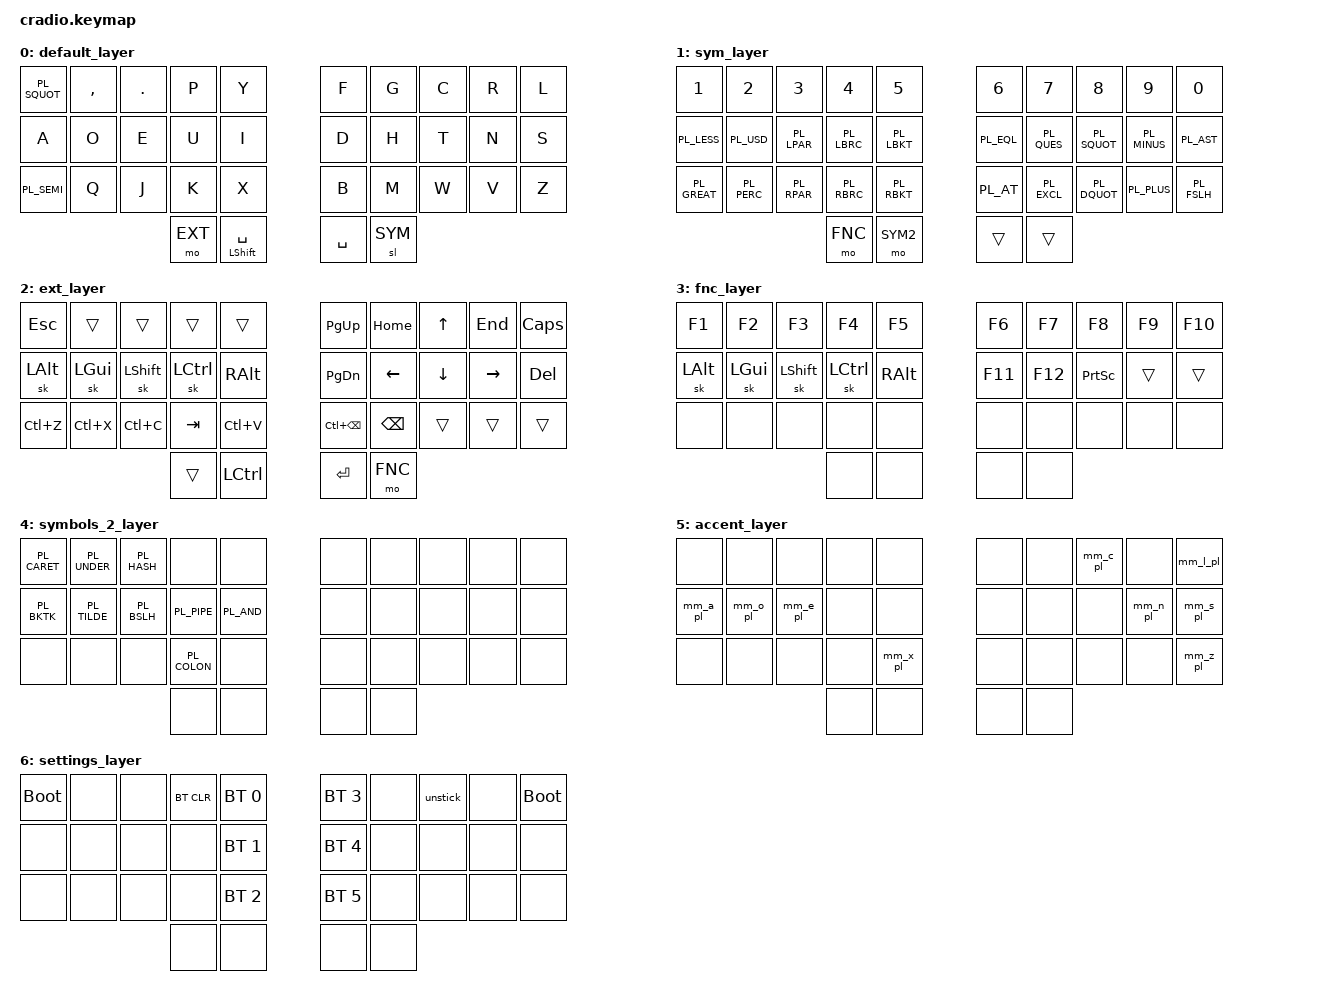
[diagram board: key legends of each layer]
/*
 * Copyright (c) 2020 The ZMK Contributors
 *
 * SPDX-License-Identifier: MIT
 */

#include <behaviors.dtsi>
#include <dt-bindings/zmk/keys.h>
#include <dt-bindings/zmk/bt.h>
#include "keymap_polish.h"

// Layer definitions
    #define BASE 0
    #define SYM 1
    #define EXT 2
    #define FNC 3
    #define SYM2 4
    #define ACCENT 5
		#define SETTINGS 6
// -----------------

&mt {
   //  flavor = "tap-preferred";
   // tapping_term_ms = <200>;
};

&sk {
    ignore-modifiers;
};

/ {
		behaviors {
				mm_a_pl: mm_a_pl { compatible = "zmk,behavior-mod-morph"; #binding-cells = <0>;
						bindings = <&kp RA(A)>, <&kp LS(RA(A))>; mods = <(MOD_LSFT|MOD_RSFT)>; };
				mm_c_pl: mm_c_pl { compatible = "zmk,behavior-mod-morph"; #binding-cells = <0>;
						bindings = <&kp RA(C)>, <&kp LS(RA(C))>; mods = <(MOD_LSFT|MOD_RSFT)>; };
				mm_e_pl: mm_e_pl { compatible = "zmk,behavior-mod-morph"; #binding-cells = <0>;
						bindings = <&kp RA(E)>, <&kp LS(RA(E))>; mods = <(MOD_LSFT|MOD_RSFT)>; };
				mm_l_pl: mm_l_pl { compatible = "zmk,behavior-mod-morph"; #binding-cells = <0>;
						bindings = <&kp RA(L)>, <&kp LS(RA(L))>; mods = <(MOD_LSFT|MOD_RSFT)>; };
				mm_n_pl: mm_n_pl { compatible = "zmk,behavior-mod-morph"; #binding-cells = <0>;
						bindings = <&kp RA(N)>, <&kp LS(RA(N))>; mods = <(MOD_LSFT|MOD_RSFT)>; };
				mm_o_pl: mm_o_pl { compatible = "zmk,behavior-mod-morph"; #binding-cells = <0>;
						bindings = <&kp RA(O)>, <&kp LS(RA(O))>; mods = <(MOD_LSFT|MOD_RSFT)>; };
				mm_s_pl: mm_s_pl { compatible = "zmk,behavior-mod-morph"; #binding-cells = <0>;
						bindings = <&kp RA(S)>, <&kp LS(RA(S))>; mods = <(MOD_LSFT|MOD_RSFT)>; };
				mm_x_pl: mm_x_pl { compatible = "zmk,behavior-mod-morph"; #binding-cells = <0>;
						bindings = <&kp RA(X)>, <&kp LS(RA(X))>; mods = <(MOD_LSFT|MOD_RSFT)>; };
				mm_z_pl: mm_z_pl { compatible = "zmk,behavior-mod-morph"; #binding-cells = <0>;
						bindings = <&kp RA(Z)>, <&kp LS(RA(Z))>; mods = <(MOD_LSFT|MOD_RSFT)>; };
		};

		macros {
				// sometimes my device thinks a modifier is being held down
				// pressing all modifiers fixes it.
				unstick: unstick {
					label = "ZM_unstick";
					compatible = "zmk,behavior-macro";
					#binding-cells = <0>;
					bindings
						= <&kp LSHIFT &kp RSHIFT &kp LCTRL &kp RCTRL &kp LALT &kp RALT &kp LGUI &kp RGUI>;
				};
		};

    combos {
        compatible = "zmk,combos";
				// both right thumb keys
        combo_accent {
            timeout-ms = <300>;
            key-positions = <32 33>;
            bindings = <&mo ACCENT>;
        };
				// internal-left & external-right thumb keys
				combo_sym2 {
						timeout-ms = <200>;
						key-positions = <31 33>;
						bindings = <&mo SYM2>;
				};
				// both left thumb keys
				combo_settings {
						timeout-ms = <300>;
						key-positions = <30 31>;
						bindings = <&mo SETTINGS>;
				};
    };

    keymap {
            compatible = "zmk,keymap";

        // Base alpha layer
       		default_layer {
		bindings = <
		&kp PL_SQUOT &kp COMMA &kp DOT &kp P &kp Y           &kp F &kp G  &kp C     &kp R   &kp L
		&kp A &kp O &kp E &kp U &kp I           &kp D &kp H  &kp T     &kp N &kp S
		&kp PL_SEMI &kp Q &kp J &kp K &kp X           &kp B &kp M  &kp W &kp V &kp Z
             &mo EXT &mt LSHIFT SPACE           &kp SPACE &sl SYM
		>;
		};

        // Numbers and high frequency symbols
       		sym_layer {
		bindings = <
		&kp N1 &kp N2 &kp N3 &kp N4 &kp N5		                                    &kp N6 &kp N7 &kp N8 &kp N9 &kp N0
		&kp PL_LESS &kp PL_USD &kp PL_LPAR &kp PL_LBRC &kp PL_LBKT  &kp PL_EQL &kp PL_QUES &kp PL_SQUOT &kp PL_MINUS &kp PL_AST
		&kp PL_GREAT &kp PL_PERC &kp PL_RPAR &kp PL_RBRC &kp PL_RBKT 	&kp PL_AT &kp PL_EXCL &kp PL_DQUOT &kp PL_PLUS &kp PL_FSLH
					                                        &mo FNC  &mo SYM2       &trans &trans
		>;
		};

        // Main modifiers and arrow keys
		    ext_layer {
		bindings = <
		&kp ESC  &trans &trans  &trans  &trans    			        &kp PG_UP  &kp HOME &kp UP &kp END &kp CAPS
		&sk LALT &sk LGUI  &sk LSHIFT  &sk LCTRL  &kp RALT 			&kp PG_DN &kp LEFT  &kp DOWN  &kp RIGHT   &kp DEL
		&kp LC(Z)  &kp LC(X) &kp LC(C) &kp TAB   &kp LC(V)          &kp LC(BSPC) &kp BSPC &trans &trans  &trans
					                        &trans &kp LCTRL    &kp ENTER  &mo FNC 
		>;
		};

        // Function keys with modifiers
       		fnc_layer {
		bindings = <
		&kp F1 &kp F2 &kp F3 &kp F4 &kp F5                  &kp F6 &kp F7 &kp F8 &kp F9 &kp F10 
		&sk LALT &sk LGUI &sk LSHIFT &sk LCTRL &kp RALT     &kp F11 &kp F12  &kp PRINTSCREEN &trans &trans
		&none &none &none &none &none				          &none &none &none &none &none 
          				           &none &none              &none &none  
		>;
		};

        // Low frequency symbols.
       		symbols_2_layer {
		bindings = <
		&kp PL_CARET &kp PL_UNDER &kp PL_HASH &none &none                   &none &none &none &none &none
		&kp PL_BKTK &kp PL_TILDE &kp PL_BSLH &kp PL_PIPE &kp PL_AND        &none &none &none &none &none
		&none &none &none &kp PL_COLON &none                                 &none &none &none &none &none
          				           												&none &none        	&none &none
		>;
		};

        // Used to type Polish diacritics (ą, ć, ę, ł, ń, ó, ś, ź, ż).
       		accent_layer {
		bindings = <
		&none &none &none &none &none                                          &none &none &mm_c_pl &none &mm_l_pl
		&mm_a_pl &mm_o_pl &mm_e_pl &none &none                                &none &none &none &mm_n_pl &mm_s_pl
		&none &none &none &none &mm_x_pl                                       &none &none &none &none &mm_z_pl
          				     &none &none                                        &none &none
		>;
		};

        // Used to change the keyboard's settings.
       		settings_layer {
		bindings = <
		&bootloader &none &none &bt BT_CLR &bt BT_SEL 0               &bt BT_SEL 3 &none &unstick &none &bootloader 
		&none &none &none &none      &bt BT_SEL 1 						  &bt BT_SEL 4 &none &none &none &none
		&none &none &none &none      &bt BT_SEL 2               &bt BT_SEL 5 &none &none &none &none
          				     &none &none                         &none &none 
		>;
		};
        
	};
};
